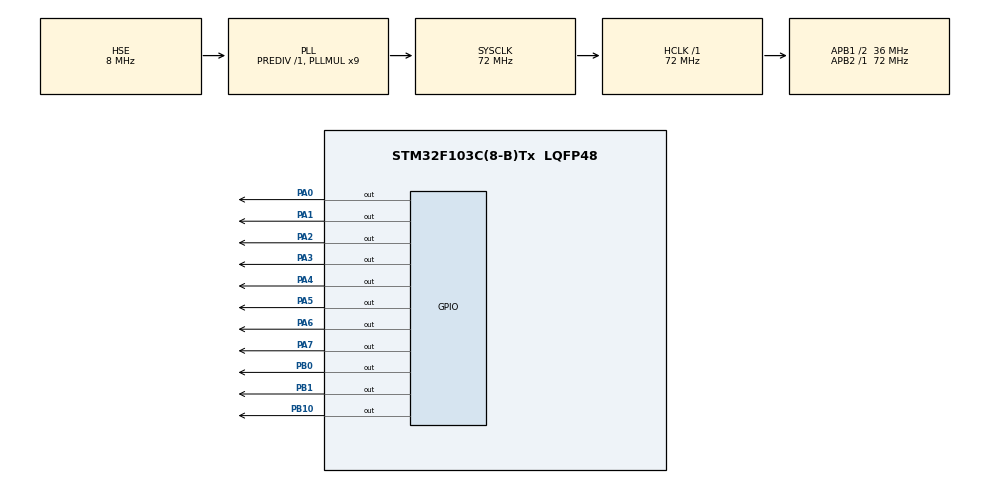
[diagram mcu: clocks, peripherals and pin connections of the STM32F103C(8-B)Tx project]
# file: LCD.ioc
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Mcu.Family=STM32F1
Mcu.Name=STM32F103C(8-B)Tx
Mcu.Package=LQFP48
NVIC.PriorityGroup=NVIC_PRIORITYGROUP_4
PA0-WKUP.Signal=GPIO_Output
PA1.Signal=GPIO_Output
PA13.Mode=Serial_Wire
PA13.Signal=SYS_JTMS-SWDIO
PA14.Mode=Serial_Wire
PA14.Signal=SYS_JTCK-SWCLK
PA2.Signal=GPIO_Output
PA3.Signal=GPIO_Output
PA4.Signal=GPIO_Output
PA5.Signal=GPIO_Output
PA6.Signal=GPIO_Output
PA7.Signal=GPIO_Output
PB0.Signal=GPIO_Output
PB1.Signal=GPIO_Output
PB10.Signal=GPIO_Output
PD0-OSC_IN.Mode=HSE-External-Oscillator
PD0-OSC_IN.Signal=RCC_OSC_IN
PD1-OSC_OUT.Mode=HSE-External-Oscillator
PD1-OSC_OUT.Signal=RCC_OSC_OUT
ProjectManager.HeapSize=0x200
ProjectManager.StackSize=0x400
ProjectManager.TargetToolchain=STM32CubeIDE
RCC.AHBFreq_Value=72000000
RCC.APB1CLKDivider=RCC_HCLK_DIV2
RCC.APB1Freq_Value=36000000
RCC.APB1TimFreq_Value=72000000
RCC.APB2Freq_Value=72000000
RCC.APB2TimFreq_Value=72000000
RCC.HCLKFreq_Value=72000000
RCC.PLLMUL=RCC_PLL_MUL9
RCC.PLLSourceVirtual=RCC_PLLSOURCE_HSE
RCC.SYSCLKFreq_VALUE=72000000
RCC.SYSCLKSource=RCC_SYSCLKSOURCE_PLLCLK
RCC.USBFreq_Value=72000000
board=custom

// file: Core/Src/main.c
/* USER CODE BEGIN Header */
/**
  ******************************************************************************
  * @file           : main.c
  * @brief          : Main program body
  ******************************************************************************
  * @attention
  *
  * Copyright (c) 2026 STMicroelectronics.
  * All rights reserved.
  *
  * This software is licensed under terms that can be found in the LICENSE file
  * in the root directory of this software component.
  * If no LICENSE file comes with this software, it is provided AS-IS.
  *
  ******************************************************************************
  */
/* USER CODE END Header */
#include "main.h"

void SystemClock_Config(void);
static void MX_GPIO_Init(void);

/* USER CODE BEGIN 0 */
#define MDATA 0X01
#define MCMD  0x00

void LCD_init();

void LCD_write_byte(uint8_t data, uint8_t mode);

void LCD_write_data(uint8_t data);

void LCD_write_cmd(uint8_t data);

void LCD_print(char *str);

void LCD_write_byte(uint8_t data, uint8_t mode){
	if (mode == 0x01){
		//data
		HAL_GPIO_WritePin(GPIOB, GPIO_PIN_0, 1); // RS= 1
	}else if(mode == 0x00){
		//cmd
		HAL_GPIO_WritePin(GPIOB, GPIO_PIN_0, 0); // RS =0
	}

	HAL_GPIO_WritePin(GPIOA, GPIO_PIN_0, (data & 0x01)? 1 : 0);
	HAL_GPIO_WritePin(GPIOA, GPIO_PIN_1, (data & 0x02)? 1 : 0);
	HAL_GPIO_WritePin(GPIOA, GPIO_PIN_2, (data & 0x04)? 1 : 0);
	HAL_GPIO_WritePin(GPIOA, GPIO_PIN_3, (data & 0x08)? 1 : 0);
	HAL_GPIO_WritePin(GPIOA, GPIO_PIN_4, (data & 0x10)? 1 : 0);
	HAL_GPIO_WritePin(GPIOA, GPIO_PIN_5, (data & 0x20)? 1 : 0);
	HAL_GPIO_WritePin(GPIOA, GPIO_PIN_6, (data & 0x40)? 1 : 0);
	HAL_GPIO_WritePin(GPIOA, GPIO_PIN_7, (data & 0x80)? 1 : 0);

	HAL_GPIO_WritePin(GPIOB, GPIO_PIN_10,0);
	HAL_Delay(1);
	HAL_GPIO_WritePin(GPIOB, GPIO_PIN_10,1);
	HAL_Delay(1);
	HAL_GPIO_WritePin(GPIOB, GPIO_PIN_10,0);
	HAL_Delay(1);
}

void LCD_write_data(uint8_t data){
	LCD_write_byte(data, MDATA);
}
void LCD_write_cmd(uint8_t data){
	LCD_write_byte(data, MCMD);
}

void LCD_init(){
	HAL_Delay(50);
	LCD_write_cmd(0x38); //LCD Commands
	HAL_Delay(5);
	LCD_write_cmd(0x0C); //LCD Commands
	HAL_Delay(5);
	LCD_write_cmd(0x01);
	HAL_Delay(5);
	LCD_write_cmd(0x06);
}
void LCD_print(char *str){
	while(*str){
		LCD_write_data(*str++);
	}
}
/* USER CODE END 0 */

int main(void)
{

  /* MCU Configuration--------------------------------------------------------*/

  /* Reset of all peripherals, Initializes the Flash interface and the Systick. */
  HAL_Init();

  /* Configure the system clock */
  SystemClock_Config();

  /* Initialize all configured peripherals */
  MX_GPIO_Init();
  /* USER CODE BEGIN 2 */
  HAL_GPIO_WritePin(GPIOB, GPIO_PIN_1, 0);
  LCD_init();
  LCD_print("HELLO WORLD");
  /* USER CODE END 2 */

  /* Infinite loop */
  while (1)
  {

  }
}

void SystemClock_Config(void)
{
  RCC_OscInitTypeDef RCC_OscInitStruct = {0};
  RCC_ClkInitTypeDef RCC_ClkInitStruct = {0};

  /** Initializes the RCC Oscillators according to the specified parameters
  * in the RCC_OscInitTypeDef structure.
  */
  RCC_OscInitStruct.OscillatorType = RCC_OSCILLATORTYPE_HSE;
  RCC_OscInitStruct.HSEState = RCC_HSE_ON;
  RCC_OscInitStruct.HSEPredivValue = RCC_HSE_PREDIV_DIV1;
  RCC_OscInitStruct.HSIState = RCC_HSI_ON;
  RCC_OscInitStruct.PLL.PLLState = RCC_PLL_ON;
  RCC_OscInitStruct.PLL.PLLSource = RCC_PLLSOURCE_HSE;
  RCC_OscInitStruct.PLL.PLLMUL = RCC_PLL_MUL9;
  if (HAL_RCC_OscConfig(&RCC_OscInitStruct) != HAL_OK)
  {
    Error_Handler();
  }

  /** Initializes the CPU, AHB and APB buses clocks
  */
  RCC_ClkInitStruct.ClockType = RCC_CLOCKTYPE_HCLK|RCC_CLOCKTYPE_SYSCLK
                              |RCC_CLOCKTYPE_PCLK1|RCC_CLOCKTYPE_PCLK2;
  RCC_ClkInitStruct.SYSCLKSource = RCC_SYSCLKSOURCE_PLLCLK;
  RCC_ClkInitStruct.AHBCLKDivider = RCC_SYSCLK_DIV1;
  RCC_ClkInitStruct.APB1CLKDivider = RCC_HCLK_DIV2;
  RCC_ClkInitStruct.APB2CLKDivider = RCC_HCLK_DIV1;

  if (HAL_RCC_ClockConfig(&RCC_ClkInitStruct, FLASH_LATENCY_2) != HAL_OK)
  {
    Error_Handler();
  }
}

static void MX_GPIO_Init(void)
{
  GPIO_InitTypeDef GPIO_InitStruct = {0};

  /* GPIO Ports Clock Enable */
  __HAL_RCC_GPIOD_CLK_ENABLE();
  __HAL_RCC_GPIOA_CLK_ENABLE();
  __HAL_RCC_GPIOB_CLK_ENABLE();

  /*Configure GPIO pin Output Level */
  HAL_GPIO_WritePin(GPIOA, GPIO_PIN_0|GPIO_PIN_1|GPIO_PIN_2|GPIO_PIN_3
                          |GPIO_PIN_4|GPIO_PIN_5|GPIO_PIN_6|GPIO_PIN_7, GPIO_PIN_RESET);

  /*Configure GPIO pin Output Level */
  HAL_GPIO_WritePin(GPIOB, GPIO_PIN_0|GPIO_PIN_1|GPIO_PIN_10, GPIO_PIN_RESET);

  /*Configure GPIO pins : PA0 PA1 PA2 PA3
                           PA4 PA5 PA6 PA7 */
  GPIO_InitStruct.Pin = GPIO_PIN_0|GPIO_PIN_1|GPIO_PIN_2|GPIO_PIN_3
                          |GPIO_PIN_4|GPIO_PIN_5|GPIO_PIN_6|GPIO_PIN_7;
  GPIO_InitStruct.Mode = GPIO_MODE_OUTPUT_PP;
  GPIO_InitStruct.Pull = GPIO_NOPULL;
  GPIO_InitStruct.Speed = GPIO_SPEED_FREQ_LOW;
  HAL_GPIO_Init(GPIOA, &GPIO_InitStruct);

  /*Configure GPIO pins : PB0 PB1 PB10 */
  GPIO_InitStruct.Pin = GPIO_PIN_0|GPIO_PIN_1|GPIO_PIN_10;
  GPIO_InitStruct.Mode = GPIO_MODE_OUTPUT_PP;
  GPIO_InitStruct.Pull = GPIO_NOPULL;
  GPIO_InitStruct.Speed = GPIO_SPEED_FREQ_LOW;
  HAL_GPIO_Init(GPIOB, &GPIO_InitStruct);

}

void Error_Handler(void)
{
  __disable_irq();
  while (1)
  {
  }
}
